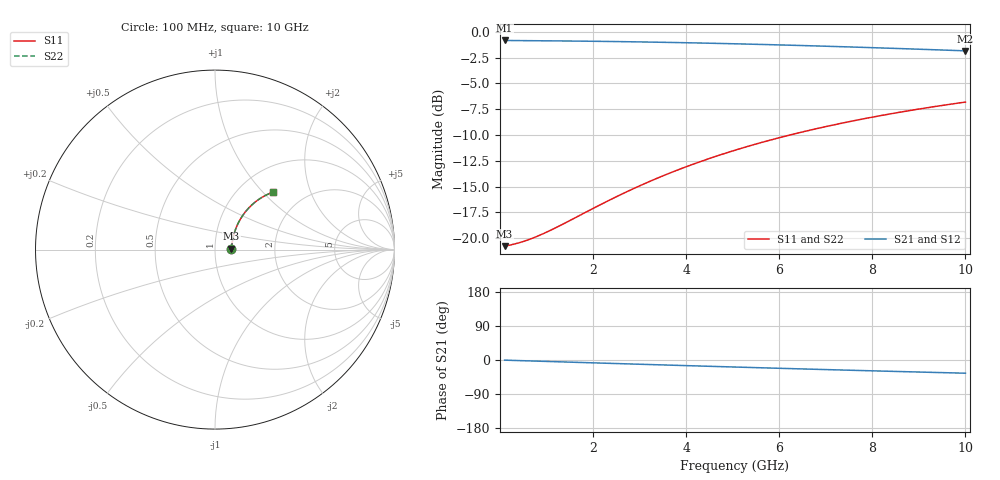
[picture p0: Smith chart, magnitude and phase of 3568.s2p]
# Hz S RI R 50.00
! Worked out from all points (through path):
!   100 points, 100 MHz to 10 GHz, reference 50 ohm
!   highest |S21| = -0.83 dB at 100 MHz (marker M1); lowest = -1.8 dB at 10 GHz (marker M2)
!   group delay of S21, straight-line fit = 9.72 ps
!   lowest |S11| = -20.8 dB at 100 MHz (marker M3), VSWR 1.20, Z = 60.1 + j0.555 ohm
!   |S11| at or under -10 dB: start of sweep to 6.228 GHz
!   |S22| runs from -20.8 to -6.8 dB; largest |S21 - S12| = 0
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1e8  0.0914 0.00458  0.9086 -0.00598  0.9086 -0.00598  0.0914 0.00458
4e8  0.0931 0.0182  0.9069 -0.0238  0.9069 -0.0238  0.0931 0.0182
6e8  0.0942 0.0273  0.9058 -0.0357  0.9058 -0.0357  0.0942 0.0273
8e8  0.0954 0.0363  0.9045 -0.0475  0.9045 -0.0475  0.0954 0.0363
1e9  0.0969 0.0453  0.903 -0.0593  0.903 -0.0593  0.0969 0.0453
1.2e9  0.0985 0.0543  0.9014 -0.071  0.9014 -0.071  0.0985 0.0543
1.8e9  0.1045 0.0807  0.8952 -0.1059  0.8952 -0.1059  0.1045 0.0807
2.2e9  0.1095 0.098  0.89 -0.1287  0.89 -0.1287  0.1095 0.098
2.6e9  0.1154 0.1149  0.8839 -0.1513  0.8839 -0.1513  0.1154 0.1149
3e9  0.122 0.1314  0.877 -0.1734  0.877 -0.1734  0.122 0.1314
3.4e9  0.1295 0.1474  0.8693 -0.195  0.8693 -0.195  0.1295 0.1474
3.8e9  0.1376 0.163  0.8608 -0.2162  0.8608 -0.2162  0.1376 0.163
4.2e9  0.1465 0.1779  0.8516 -0.2368  0.8516 -0.2368  0.1465 0.1779
4.6e9  0.156 0.1924  0.8418 -0.2568  0.8418 -0.2568  0.156 0.1924
5.1e9  0.1688 0.2095  0.8285 -0.281  0.8285 -0.281  0.1688 0.2095
5.5e9  0.1796 0.2225  0.8172 -0.2997  0.8172 -0.2997  0.1796 0.2225
5.9e9  0.191 0.2348  0.8054 -0.3177  0.8054 -0.3177  0.191 0.2348
6.7e9  0.215 0.2574  0.7803 -0.3516  0.7803 -0.3516  0.215 0.2574
7.5e9  0.2405 0.2772  0.7537 -0.3828  0.7537 -0.3828  0.2405 0.2772
8.4e9  0.2703 0.296  0.7222 -0.4145  0.7222 -0.4145  0.2703 0.296
9.2e9  0.2976 0.3097  0.6935 -0.4397  0.6935 -0.4397  0.2976 0.3097
1e10  0.3252 0.3207  0.6642 -0.4622  0.6642 -0.4622  0.3252 0.3207
